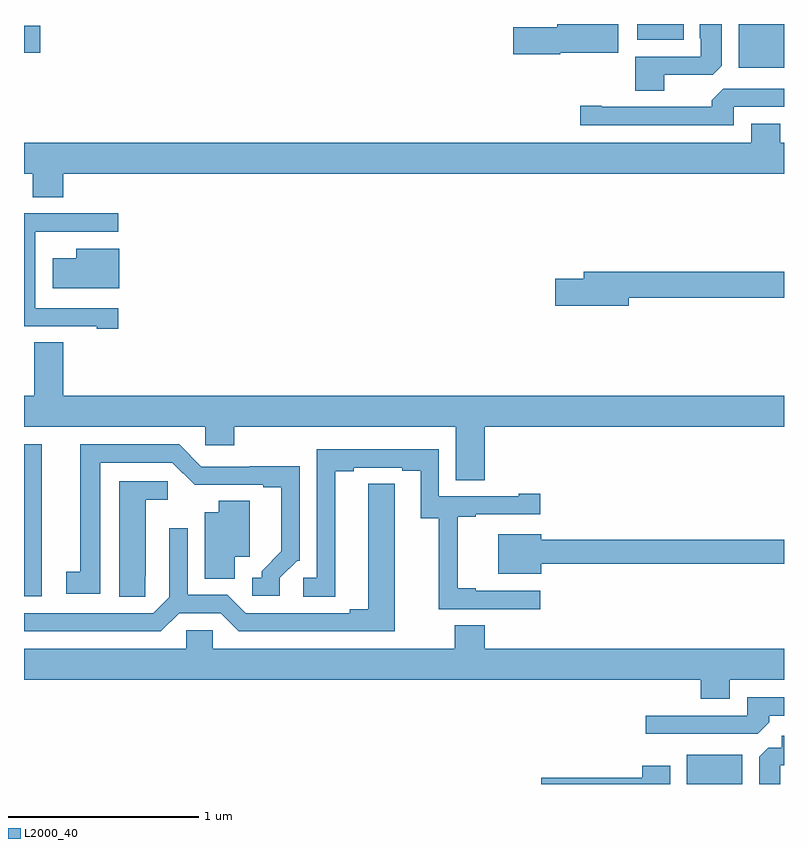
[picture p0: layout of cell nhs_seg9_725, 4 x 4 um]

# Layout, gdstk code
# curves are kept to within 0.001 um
import gdstk
lib = gdstk.Library(unit=1e-6, precision=1e-09)
def R(c, l, rs):  # rectangles x0, y0, x1, y1
    for r in rs: c.add(gdstk.rectangle(r[:2], r[2:], *l))
def P(c, l, *ps):  # polygons
    for p in ps: c.add(gdstk.Polygon(p, *l))
L2000_40 = (2000, 40)

nhs_seg9_725 = lib.new_cell('nhs_seg9_725')
R(nhs_seg9_725, L2000_40, [(150.488,1234.5,150.781,1234.654), (147,1235.487,147.094,1236.288), (150.761,1238.27,151,1238.5), (147,1238.35,147.085,1238.492), (150.227,1238.417,150.472,1238.5)])
P(nhs_seg9_725, L2000_40, [(149.823,1238.348),(150.127,1238.348),(150.127,1238.5),(149.807,1238.5),(149.807,1238.483),(149.574,1238.483),(149.574,1238.341),(149.823,1238.341)],
  [(150.37,1238.232),(150.624,1238.232),(150.673,1238.281),(150.673,1238.5),(150.557,1238.5),(150.557,1238.425),(150.561,1238.425),(150.561,1238.328),(150.218,1238.328),(150.218,1238.149),(150.37,1238.149)],
  [(150.735,1238.064),(151,1238.064),(151,1238.16),(150.681,1238.16),(150.62,1238.098),(150.62,1238.064),(150.04,1238.064),(150.04,1238.069),(149.928,1238.069),(149.928,1237.968),(150.735,1237.968)],
  [(147.206,1237.712),(151,1237.712),(151,1237.876),(150.98,1237.876),(150.98,1237.975),(150.827,1237.975),(150.827,1237.876),(147,1237.876),(147,1237.712),(147.046,1237.712),(147.046,1237.588),(147.206,1237.588)],
  [(147.496,1237.005),(147.06,1237.005),(147.06,1237.406),(147.062,1237.406),(147.062,1237.407),(147.496,1237.407),(147.496,1237.503),(147,1237.503),(147,1236.909),(147.383,1236.909),(147.383,1236.897),(147.496,1236.897)],
  [(147.502,1237.318),(147.275,1237.318),(147.275,1237.267),(147.15,1237.267),(147.15,1237.109),(147.502,1237.109)],
  [(150.184,1237.06),(151,1237.06),(151,1237.196),(149.945,1237.196),(149.945,1237.16),(149.796,1237.16),(149.796,1237.018),(150.184,1237.018)],
  [(149.426,1236.38),(151,1236.38),(151,1236.544),(147.206,1236.544),(147.206,1236.824),(147.053,1236.824),(147.053,1236.544),(147,1236.544),(147,1236.38),(147.954,1236.38),(147.954,1236.282),(148.106,1236.282),(148.106,1236.38),(149.273,1236.38),(149.273,1236.1),(149.426,1236.1)],
  [(148.347,1235.586),(148.437,1235.676),(148.452,1235.676),(148.452,1236.173),(148.189,1236.173),(148.189,1236.171),(147.933,1236.171),(147.816,1236.288),(147.296,1236.288),(147.296,1235.618),(147.222,1235.618),(147.222,1235.502),(147.4,1235.502),(147.4,1236.192),(147.78,1236.192),(147.898,1236.074),(148.259,1236.075),(148.259,1236.063),(148.355,1236.063),(148.355,1235.726),(148.25,1235.621),(148.25,1235.586),(148.2,1235.586),(148.2,1235.49),(148.347,1235.49)],
  [(149.716,1235.517),(149.377,1235.517),(149.377,1235.53),(149.282,1235.53),(149.282,1235.907),(149.377,1235.907),(149.377,1235.919),(149.716,1235.919),(149.716,1236.028),(149.603,1236.028),(149.603,1236.015),(149.184,1236.015),(149.184,1236.261),(148.542,1236.261),(148.542,1235.586),(148.47,1235.586),(148.47,1235.485),(148.639,1235.485),(148.639,1236.145),(148.735,1236.145),(148.735,1236.165),(148.991,1236.165),(148.991,1236.15),(149.087,1236.15),(149.087,1235.899),(149.182,1235.899),(149.182,1235.421),(149.716,1235.421)],
  [(147.639,1235.593),(147.64,1235.593),(147.64,1235.996),(147.757,1235.996),(147.757,1236.093),(147.5,1236.093),(147.5,1235.485),(147.639,1235.485)],
  [(147.817,1235.4),(148.035,1235.4),(148.131,1235.304),(148.951,1235.304),(148.95,1236.08),(148.811,1236.08),(148.811,1235.42),(148.715,1235.42),(148.715,1235.4),(148.167,1235.4),(148.071,1235.496),(147.861,1235.496),(147.861,1235.845),(147.765,1235.845),(147.765,1235.484),(147.681,1235.4),(147,1235.4),(147,1235.304),(147.721,1235.304)],
  [(148.108,1235.696),(148.189,1235.696),(148.189,1235.99),(148.025,1235.99),(148.025,1235.929),(147.95,1235.929),(147.95,1235.581),(148.108,1235.581)],
  [(149.722,1235.658),(151,1235.658),(151,1235.786),(149.722,1235.786),(149.722,1235.815),(149.495,1235.815),(149.495,1235.606),(149.722,1235.606)],
  [(150.715,1235.048),(151,1235.048),(151,1235.212),(149.426,1235.212),(149.426,1235.336),(149.266,1235.336),(149.266,1235.212),(147.993,1235.212),(147.993,1235.31),(147.855,1235.31),(147.855,1235.212),(147,1235.212),(147,1235.048),(150.563,1235.048),(150.563,1234.949),(150.715,1234.949)],
  [(150.923,1234.826),(150.923,1234.86),(151,1234.86),(151,1234.956),(150.807,1234.956),(150.807,1234.86),(150.273,1234.86),(150.273,1234.764),(150.861,1234.764)],
  [(150.981,1234.599),(151,1234.599),(151,1234.753),(150.989,1234.753),(150.989,1234.692),(150.918,1234.692),(150.869,1234.643),(150.869,1234.5),(150.981,1234.5)],
  [(150.4,1234.597),(150.254,1234.597),(150.254,1234.532),(149.723,1234.532),(149.723,1234.5),(150.4,1234.5)])

lib.write_gds('nhs_seg9_725.gds')
